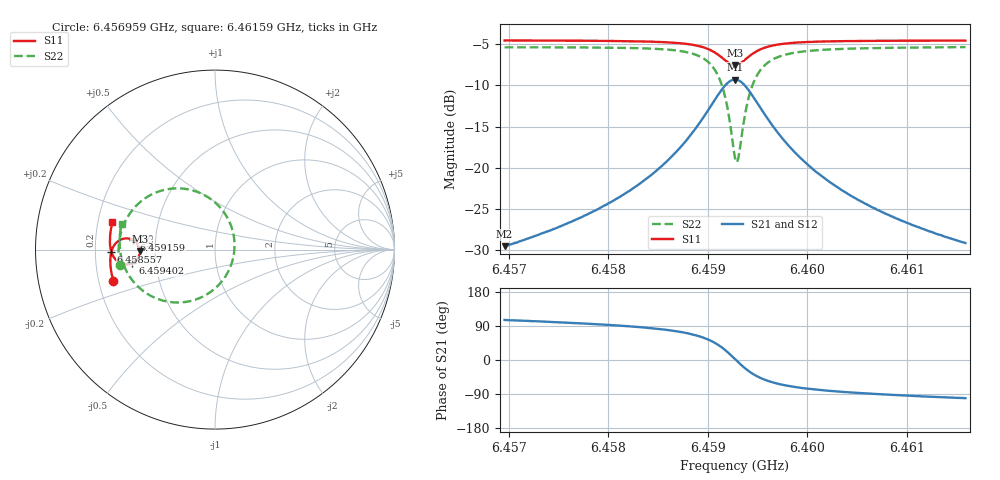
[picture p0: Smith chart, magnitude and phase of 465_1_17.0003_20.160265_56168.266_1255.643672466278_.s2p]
#  HZ  S  RI  R  50.00
! Rohde & Schwarz Vector Network Analyzer
! Rohde-Schwarz,ZNB20-2Port,1311601062101988,3.16
! Created: UTC 3/20/2024, 11:12:55 PM
! freq[Hz]  re:S11  im:S11  re:S21  im:S21  re:S12  im:S12  re:S22  im:S22
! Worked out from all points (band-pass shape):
!   401 points, 6.456959 GHz to 6.46159 GHz, reference 50 ohm
!   highest |S21| = -9.29 dB at 6.459275 GHz (marker M1); lowest = -29.5 dB at 6.456959 GHz (marker M2)
!   |S21| within 3 dB of the highest: 6.459043 GHz to 6.459506 GHz (462.5 kHz wide, 0.00716 % of centre)
!   lowest |S11| = -7.5 dB at 6.459275 GHz (marker M3), VSWR 2.44, Z = 20.5 - j0.512 ohm
!   |S11| at or under -10 dB: nowhere
!   |S22| runs from -19.3 to -5.4 dB; largest |S21 - S12| = 0.013
!   S11 on the Smith chart (normalised r, x): 6.456959 GHz: 0.26, -0.14; 6.458557 GHz: 0.27, -0.01; 6.459159 GHz: 0.37, +0.05; 6.459402 GHz: 0.37, -0.07; 6.46159 GHz: 0.26, +0.12
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6.4569594e9  -0.5661 -0.1735  -0.0091 0.0322  -0.00719 0.0321  -0.5313 -0.0865
6.457735e9  -0.5805 -0.1058  -0.0056 0.0499  -0.00307 0.0495  -0.5372 0.00382
6.4581401e9  -0.5836 -0.0655  -0.00033 0.0681  0.00297 0.0668  -0.5302 0.0669
6.4585105e9  -0.5799 -0.0217  0.0138 0.0981  0.0179 0.0953  -0.5042 0.1488
6.4585568e9  -0.5784 -0.0155  0.0173 0.1035  0.0214 0.1004  -0.498 0.162
6.4587652e9  -0.5663 0.0164  0.0431 0.1351  0.0474 0.1303  -0.4492 0.2333
6.4589157e9  -0.5451 0.0426  0.0857 0.1652  0.089 0.1586  -0.371 0.2974
6.4590662e9  -0.4993 0.0622  0.177 0.1841  0.1779 0.1768  -0.204 0.3412
6.4591588e9  -0.4549 0.0523  0.2664 0.1533  0.2666 0.1474  -0.0384 0.2916
6.4592051e9  -0.4339 0.0334  0.3099 0.1107  0.311 0.1054  0.0441 0.216
6.4592745e9  -0.4192 -0.0103  0.343 0.0144  0.3466 0.0075  0.1088 0.0373
6.4592861e9  -0.4196 -0.0183  0.3428 -0.0032  0.3464 -0.0108  0.1084 0.00385
6.4593092e9  -0.4231 -0.0337  0.3373 -0.0377  0.3411 -0.0466  0.0976 -0.0616
6.4593555e9  -0.4386 -0.0597  0.309 -0.0973  0.3112 -0.1091  0.0405 -0.1743
6.4594018e9  -0.4605 -0.0759  0.2673 -0.1381  0.2664 -0.1511  -0.044 -0.2487
6.4594944e9  -0.5036 -0.0825  0.183 -0.1691  0.177 -0.1806  -0.2114 -0.2948
6.4596449e9  -0.5471 -0.062  0.0957 -0.1554  0.0874 -0.1616  -0.3782 -0.2456
6.459807e9  -0.5685 -0.0344  0.051 -0.1278  0.0435 -0.1305  -0.4582 -0.1741
6.4600501e9  -0.5811 0.00118  0.0221 -0.0965  0.0164 -0.0971  -0.506 -0.0921
6.4603857e9  -0.5854 0.0412  0.0066 -0.0705  0.00247 -0.0702  -0.527 -0.0153
6.4608256e9  -0.5836 0.0851  -0.00134 -0.0515  -0.00436 -0.0507  -0.5316 0.0551
6.4615896e9  -0.5711 0.1527  -0.00648 -0.0344  -0.00824 -0.0334  -0.5201 0.1447
